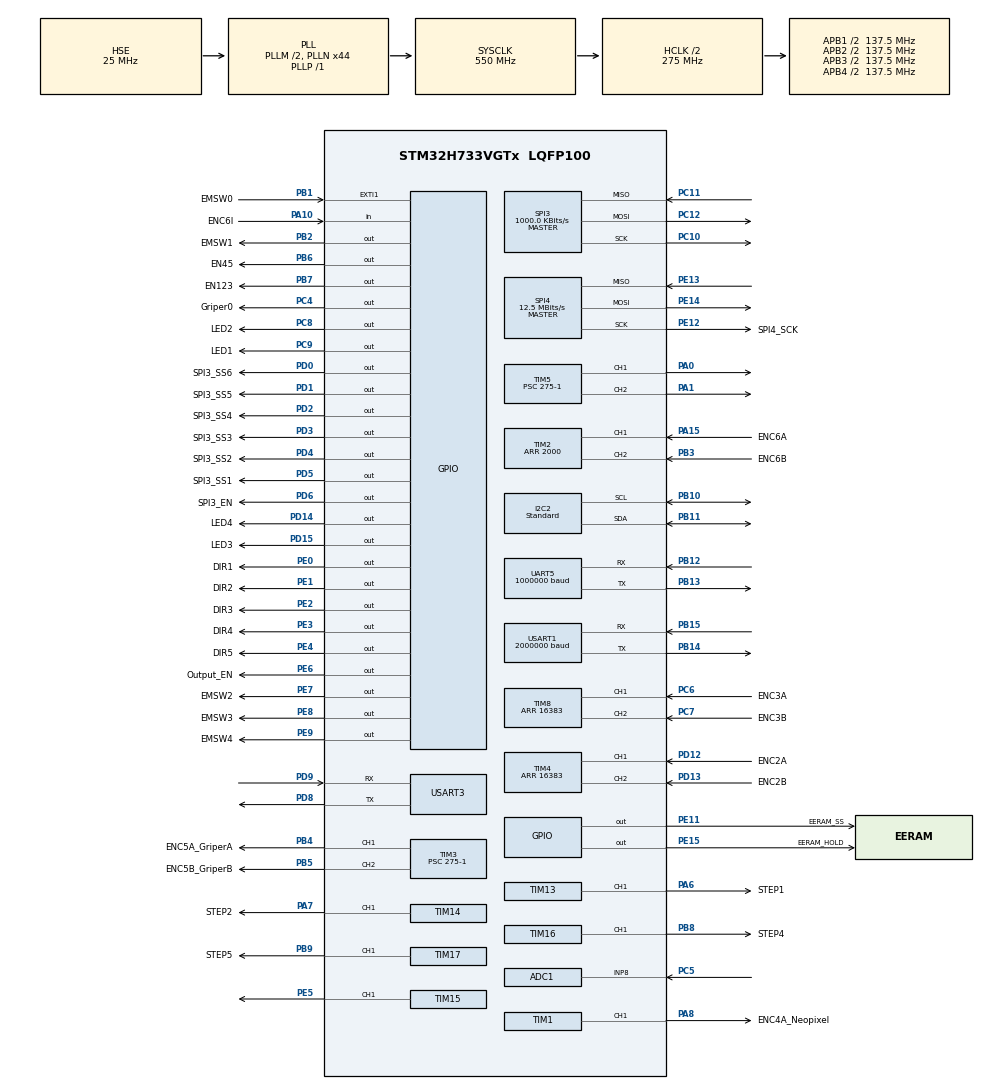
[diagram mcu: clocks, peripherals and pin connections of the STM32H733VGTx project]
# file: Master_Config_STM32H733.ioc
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ADC1.Channel-1\#ChannelRegularConversion=ADC_CHANNEL_8
ADC1.ClockPrescaler=ADC_CLOCK_ASYNC_DIV6
ADC1.Mode=ADC_DUALMODE_INJECSIMULT
ADC1.NbrOfConversionFlag=1
ADC1.OffsetNumber-1\#ChannelRegularConversion=ADC_OFFSET_NONE
ADC1.OffsetSignedSaturation-1\#ChannelRegularConversion=DISABLE
ADC1.Rank-1\#ChannelRegularConversion=1
ADC1.SamplingTime-1\#ChannelRegularConversion=ADC_SAMPLETIME_1CYCLE_5
ADC1.master=1
ADC2.Channel-0\#ChannelRegularConversion=ADC_CHANNEL_8
ADC2.ClockPrescaler=ADC_CLOCK_ASYNC_DIV6
ADC2.Mode=ADC_DUALMODE_INJECSIMULT
ADC2.NbrOfConversionFlag=1
ADC2.OffsetNumber-0\#ChannelRegularConversion=ADC_OFFSET_NONE
ADC2.OffsetSignedSaturation-0\#ChannelRegularConversion=DISABLE
ADC2.Rank-0\#ChannelRegularConversion=1
ADC2.SamplingTime-0\#ChannelRegularConversion=ADC_SAMPLETIME_1CYCLE_5
ADC3.Channel-0\#ChannelRegularConversion=ADC_CHANNEL_TEMPSENSOR
ADC3.ClockPrescaler=ADC_CLOCK_ASYNC_DIV6
ADC3.ContinuousConvMode=DISABLE
ADC3.DMAContinuousRequests=DISABLE
ADC3.Mode=ADC_DUALMODE_INJECSIMULT
ADC3.NbrOfConversion=1
ADC3.NbrOfConversionFlag=1
ADC3.OffsetNumber-0\#ChannelRegularConversion=ADC_OFFSET_NONE
ADC3.OffsetSaturation-0\#ChannelRegularConversion=DISABLE
ADC3.OffsetSign-0\#ChannelRegularConversion=ADC3_OFFSET_SIGN_NEGATIVE
ADC3.OffsetSignedSaturation-0\#ChannelRegularConversion=DISABLE
ADC3.Rank-0\#ChannelRegularConversion=1
ADC3.SamplingTime-0\#ChannelRegularConversion=ADC3_SAMPLETIME_247CYCLES_5
CRC.CRCLength=CRC_POLYLENGTH_8B
CRC.DefaultInitValueUse=DEFAULT_INIT_VALUE_DISABLE
CRC.DefaultPolynomialUse=DEFAULT_POLYNOMIAL_DISABLE
CRC.GeneratingPolynomial=X4+X3+X2+X0
CRC.InitValue=0xC4
CRC.InputDataFormat=CRC_INPUTDATA_FORMAT_BYTES
Dma.Request0=TIM1_CH1
Dma.Request1=UART5_RX
Dma.Request2=UART5_TX
Dma.TIM1_CH1.0.Direction=DMA_MEMORY_TO_PERIPH
Dma.TIM1_CH1.0.EventEnable=DISABLE
Dma.TIM1_CH1.0.FIFOMode=DMA_FIFOMODE_DISABLE
Dma.TIM1_CH1.0.Instance=DMA1_Stream0
Dma.TIM1_CH1.0.MemDataAlignment=DMA_MDATAALIGN_HALFWORD
Dma.TIM1_CH1.0.MemInc=DMA_MINC_ENABLE
Dma.TIM1_CH1.0.Mode=DMA_NORMAL
Dma.TIM1_CH1.0.PeriphDataAlignment=DMA_PDATAALIGN_HALFWORD
Dma.TIM1_CH1.0.PeriphInc=DMA_PINC_DISABLE
Dma.TIM1_CH1.0.Polarity=HAL_DMAMUX_REQ_GEN_RISING
Dma.TIM1_CH1.0.Priority=DMA_PRIORITY_LOW
Dma.TIM1_CH1.0.RequestNumber=1
Dma.TIM1_CH1.0.SignalID=NONE
Dma.TIM1_CH1.0.SyncEnable=DISABLE
Dma.TIM1_CH1.0.SyncPolarity=HAL_DMAMUX_SYNC_NO_EVENT
Dma.TIM1_CH1.0.SyncRequestNumber=1
Dma.TIM1_CH1.0.SyncSignalID=NONE
Dma.UART5_RX.1.Direction=DMA_PERIPH_TO_MEMORY
Dma.UART5_RX.1.EventEnable=DISABLE
Dma.UART5_RX.1.FIFOMode=DMA_FIFOMODE_DISABLE
Dma.UART5_RX.1.Instance=DMA1_Stream2
Dma.UART5_RX.1.MemDataAlignment=DMA_MDATAALIGN_BYTE
Dma.UART5_RX.1.MemInc=DMA_MINC_ENABLE
Dma.UART5_RX.1.Mode=DMA_NORMAL
Dma.UART5_RX.1.PeriphDataAlignment=DMA_PDATAALIGN_BYTE
Dma.UART5_RX.1.PeriphInc=DMA_PINC_DISABLE
Dma.UART5_RX.1.Polarity=HAL_DMAMUX_REQ_GEN_RISING
Dma.UART5_RX.1.Priority=DMA_PRIORITY_HIGH
Dma.UART5_RX.1.RequestNumber=1
Dma.UART5_RX.1.SignalID=NONE
Dma.UART5_RX.1.SyncEnable=DISABLE
Dma.UART5_RX.1.SyncPolarity=HAL_DMAMUX_SYNC_NO_EVENT
Dma.UART5_RX.1.SyncRequestNumber=1
Dma.UART5_RX.1.SyncSignalID=NONE
Dma.UART5_TX.2.Direction=DMA_MEMORY_TO_PERIPH
Dma.UART5_TX.2.EventEnable=DISABLE
Dma.UART5_TX.2.FIFOMode=DMA_FIFOMODE_DISABLE
Dma.UART5_TX.2.Instance=DMA1_Stream1
Dma.UART5_TX.2.MemDataAlignment=DMA_MDATAALIGN_BYTE
Dma.UART5_TX.2.MemInc=DMA_MINC_ENABLE
Dma.UART5_TX.2.Mode=DMA_NORMAL
Dma.UART5_TX.2.PeriphDataAlignment=DMA_PDATAALIGN_BYTE
Dma.UART5_TX.2.PeriphInc=DMA_PINC_DISABLE
Dma.UART5_TX.2.Polarity=HAL_DMAMUX_REQ_GEN_RISING
Dma.UART5_TX.2.Priority=DMA_PRIORITY_HIGH
Dma.UART5_TX.2.RequestNumber=1
Dma.UART5_TX.2.SignalID=NONE
Dma.UART5_TX.2.SyncEnable=DISABLE
Dma.UART5_TX.2.SyncPolarity=HAL_DMAMUX_SYNC_NO_EVENT
Dma.UART5_TX.2.SyncRequestNumber=1
Dma.UART5_TX.2.SyncSignalID=NONE
I2C2.I2C_Speed_Mode=I2C_Standard
I2C2.Timing=0x60404E72
Mcu.Family=STM32H7
Mcu.Name=STM32H733VGTx
Mcu.Package=LQFP100
NVIC.ADC3_IRQn=true\:0\:0\:false\:false\:true\:true\:true\:true
NVIC.DMA1_Stream0_IRQn=true\:0\:0\:false\:false\:true\:false\:true\:true
NVIC.DMA1_Stream1_IRQn=true\:0\:0\:false\:false\:true\:false\:true\:true
NVIC.DMA1_Stream2_IRQn=true\:0\:0\:false\:false\:true\:false\:true\:true
NVIC.I2C2_ER_IRQn=true\:0\:0\:false\:false\:true\:true\:true\:true
NVIC.PriorityGroup=NVIC_PRIORITYGROUP_4
NVIC.TIM23_IRQn=true\:0\:0\:false\:false\:true\:true\:true\:true
NVIC.UART5_IRQn=true\:0\:0\:false\:false\:true\:true\:true\:true
NVIC.USART3_IRQn=true\:0\:0\:false\:false\:true\:true\:true\:true
PA0.Signal=S_TIM5_CH1
PA1.Signal=S_TIM5_CH2
PA10.GPIO_Label=ENC6I
PA10.Signal=GPIO_Input
PA11.Signal=USB_OTG_HS_DM
PA12.Signal=USB_OTG_HS_DP
PA13(JTMS/SWDIO).Mode=Serial_Wire
PA13(JTMS/SWDIO).Signal=DEBUG_JTMS-SWDIO
PA14(JTCK/SWCLK).Mode=Serial_Wire
PA14(JTCK/SWCLK).Signal=DEBUG_JTCK-SWCLK
PA15(JTDI).GPIO_Label=ENC6A
PA15(JTDI).Signal=S_TIM2_CH1_ETR
PA6.GPIO_Label=STEP1
PA6.Signal=S_TIM13_CH1
PA7.GPIO_Label=STEP2
PA7.Signal=S_TIM14_CH1
PA8.GPIO_Label=ENC4A_Neopixel
PA8.Signal=S_TIM1_CH1
PA9.GPIO_Label=ENC4B
PA9.Signal=S_TIM1_CH2
PB1.GPIO_Label=EMSW0
PB1.Signal=GPXTI1
PB10.GPIO_Pu=GPIO_PULLUP
PB10.Mode=I2C
PB10.Signal=I2C2_SCL
PB11.GPIO_Pu=GPIO_PULLUP
PB11.Mode=I2C
PB11.Signal=I2C2_SDA
PB12.Mode=Asynchronous
PB12.Signal=UART5_RX
PB13.Mode=Asynchronous
PB13.Signal=UART5_TX
PB14.Mode=Asynchronous
PB14.Signal=USART1_TX
PB15.Mode=Asynchronous
PB15.Signal=USART1_RX
PB2.GPIO_Label=EMSW1
PB2.Signal=GPIO_Output
PB3(JTDO/TRACESWO).GPIO_Label=ENC6B
PB3(JTDO/TRACESWO).Signal=S_TIM2_CH2
PB4(NJTRST).GPIO_Label=ENC5A_GriperA
PB4(NJTRST).Signal=S_TIM3_CH1
PB5.GPIO_Label=ENC5B_GriperB
PB5.Signal=S_TIM3_CH2
PB6.GPIO_Label=EN45
PB6.Signal=GPIO_Output
PB7.GPIO_Label=EN123
PB7.Signal=GPIO_Output
PB8.GPIO_Label=STEP4
PB8.Signal=S_TIM16_CH1
PB9.GPIO_Label=STEP5
PB9.Signal=S_TIM17_CH1
PC10.Mode=Full_Duplex_Master
PC10.Signal=SPI3_SCK
PC11.Mode=Full_Duplex_Master
PC11.Signal=SPI3_MISO
PC12.Mode=Full_Duplex_Master
PC12.Signal=SPI3_MOSI
PC4.GPIO_Label=Griper0
PC4.Signal=GPIO_Output
PC5.Signal=ADCx_INP8
PC6.GPIO_Label=ENC3A
PC6.Signal=S_TIM8_CH1
PC7.GPIO_Label=ENC3B
PC7.Signal=S_TIM8_CH2
PC8.GPIO_Label=LED2
PC8.PinState=GPIO_PIN_RESET
PC8.Signal=GPIO_Output
PC9.GPIO_Label=LED1
PC9.PinState=GPIO_PIN_SET
PC9.Signal=GPIO_Output
PD0.GPIO_Label=SPI3_SS6
PD0.PinState=GPIO_PIN_SET
PD0.Signal=GPIO_Output
PD1.GPIO_Label=SPI3_SS5
PD1.PinState=GPIO_PIN_SET
PD1.Signal=GPIO_Output
PD12.GPIO_Label=ENC2A
PD12.Signal=S_TIM4_CH1
PD13.GPIO_Label=ENC2B
PD13.Signal=S_TIM4_CH2
PD14.GPIO_Label=LED4
PD14.Signal=GPIO_Output
PD15.GPIO_Label=LED3
PD15.Signal=GPIO_Output
PD2.GPIO_Label=SPI3_SS4
PD2.PinState=GPIO_PIN_SET
PD2.Signal=GPIO_Output
PD3.GPIO_Label=SPI3_SS3
PD3.PinState=GPIO_PIN_SET
PD3.Signal=GPIO_Output
PD4.GPIO_Label=SPI3_SS2
PD4.PinState=GPIO_PIN_SET
PD4.Signal=GPIO_Output
PD5.GPIO_Label=SPI3_SS1
PD5.PinState=GPIO_PIN_SET
PD5.Signal=GPIO_Output
PD6.GPIO_Label=SPI3_EN
PD6.Signal=GPIO_Output
PD8.Mode=Asynchronous
PD8.Signal=USART3_TX
PD9.Mode=Asynchronous
PD9.Signal=USART3_RX
PE0.GPIO_Label=DIR1
PE0.Signal=GPIO_Output
PE1.GPIO_Label=DIR2
PE1.Signal=GPIO_Output
PE11.GPIO_Label=EERAM_SS
PE11.Signal=GPIO_Output
PE12.GPIO_Label=SPI4_SCK
PE12.Mode=Full_Duplex_Master
PE12.Signal=SPI4_SCK
PE13.Mode=Full_Duplex_Master
PE13.Signal=SPI4_MISO
PE14.Mode=Full_Duplex_Master
PE14.Signal=SPI4_MOSI
PE15.GPIO_Label=EERAM_HOLD
PE15.Signal=GPIO_Output
PE2.GPIO_Label=DIR3
PE2.Signal=GPIO_Output
PE3.GPIO_Label=DIR4
PE3.Signal=GPIO_Output
PE4.GPIO_Label=DIR5
PE4.Signal=GPIO_Output
PE5.GPIO_ModeDefaultPP=GPIO_MODE_AF_PP
PE5.GPIO_PuPd=GPIO_NOPULL
PE5.GPIO_Speed=GPIO_SPEED_FREQ_LOW
PE5.Signal=S_TIM15_CH1
PE6.GPIO_Label=Output_EN
PE6.Signal=GPIO_Output
PE7.GPIO_Label=EMSW2
PE7.Signal=GPIO_Output
PE8.GPIO_Label=EMSW3
PE8.Signal=GPIO_Output
PE9.GPIO_Label=EMSW4
PE9.Signal=GPIO_Output
PH0-OSC_IN.Mode=HSE-External-Oscillator
PH0-OSC_IN.Signal=RCC_OSC_IN
PH1-OSC_OUT.Mode=HSE-External-Oscillator
PH1-OSC_OUT.Signal=RCC_OSC_OUT
ProjectManager.HeapSize=0x200
ProjectManager.StackSize=0x400
ProjectManager.TargetToolchain=STM32CubeIDE
RCC.ADCFreq_Value=100000000
RCC.APB1Freq_Value=137500000
RCC.APB2Freq_Value=137500000
RCC.APB3Freq_Value=137500000
RCC.APB4Freq_Value=137500000
RCC.CortexFreq_Value=550000000
RCC.D1PPRE=RCC_APB3_DIV2
RCC.D2PPRE1=RCC_APB1_DIV2
RCC.D2PPRE2=RCC_APB2_DIV2
RCC.D3PPRE=RCC_APB4_DIV2
RCC.DIVM1=2
RCC.DIVM2=2
RCC.DIVM3=25
RCC.DIVN1=44
RCC.DIVN2=16
RCC.DIVN3=256
RCC.DIVP1=1
RCC.HCLKFreq_Value=275000000
RCC.HPRE=RCC_HCLK_DIV2
RCC.LockedElements=D1CPREOutput
RCC.PLL1_VCI_Range-AdvancedSettings=RCC_PLL1VCIRANGE_0
RCC.PLL1_VCO_SEL-AdvancedSettings=RCC_PLL1VCOWIDE
RCC.PLL2_VCI_Range-AdvancedSettings=RCC_PLL2VCIRANGE_0
RCC.PLL2_VCO_SEL-AdvancedSettings=RCC_PLL2VCOMEDIUM
RCC.PLL3_VCI_Range-AdvancedSettings=RCC_PLL3VCIRANGE_3
RCC.PLL3_VCO_SEL-AdvancedSettings=RCC_PLL3VCOWIDE
RCC.PLLSourceVirtual=RCC_PLLSOURCE_HSE
RCC.SPI123CLockSelection=RCC_SPI123CLKSOURCE_PLL3
RCC.SYSCLKFreq_VALUE=550000000
RCC.SYSCLKSource=RCC_SYSCLKSOURCE_PLLCLK
RCC.Spi45ClockSelection=RCC_SPI45CLKSOURCE_PLL2
RCC.USART16CLockSelection=RCC_USART16910CLKSOURCE_PLL2
RCC.USART234578CLockSelection=RCC_USART234578CLKSOURCE_PLL2
RCC.USBCLockSelection=RCC_USBCLKSOURCE_HSI48
RCC.USBFreq_Value=48000000
SH.ADCx_INP8.0=ADC1_INP8,IN8-Single-Ended
SH.ADCx_INP8.1=ADC2_INP8,IN8-Single-Ended
SH.S_TIM13_CH1.0=TIM13_CH1,PWM Generation1 CH1
SH.S_TIM14_CH1.0=TIM14_CH1,PWM Generation1 CH1
SH.S_TIM15_CH1.0=TIM15_CH1,PWM Generation1 CH1
SH.S_TIM16_CH1.0=TIM16_CH1,PWM Generation1 CH1
SH.S_TIM17_CH1.0=TIM17_CH1,PWM Generation1 CH1
SH.S_TIM1_CH1.0=TIM1_CH1,PWM Generation1 CH1
SH.S_TIM1_CH2.0=TIM1_CH2
SH.S_TIM2_CH1_ETR.0=TIM2_CH1,Encoder_Interface
SH.S_TIM2_CH2.0=TIM2_CH2,Encoder_Interface
SH.S_TIM3_CH1.0=TIM3_CH1,PWM Generation1 CH1
SH.S_TIM3_CH2.0=TIM3_CH2,PWM Generation2 CH2
SH.S_TIM4_CH1.0=TIM4_CH1,Encoder_Interface
SH.S_TIM4_CH2.0=TIM4_CH2,Encoder_Interface
SH.S_TIM5_CH1.0=TIM5_CH1,PWM Generation1 CH1
SH.S_TIM5_CH2.0=TIM5_CH2,PWM Generation2 CH2
SH.S_TIM8_CH1.0=TIM8_CH1,Encoder_Interface
SH.S_TIM8_CH2.0=TIM8_CH2,Encoder_Interface
SPI3.BaudRatePrescaler=SPI_BAUDRATEPRESCALER_128
SPI3.CLKPhase=SPI_PHASE_2EDGE
SPI3.CRCCalculation=SPI_CRCCALCULATION_DISABLE
SPI3.CRCPolynomial=0x1D
SPI3.CalculateBaudRate=1000.0 KBits/s
SPI3.DataSize=SPI_DATASIZE_8BIT
SPI3.Direction=SPI_DIRECTION_2LINES
SPI3.FirstBit=SPI_FIRSTBIT_MSB
SPI3.Mode=SPI_MODE_MASTER
SPI3.VirtualType=VM_MASTER
SPI4.BaudRatePrescaler=SPI_BAUDRATEPRESCALER_8
SPI4.CalculateBaudRate=12.5 MBits/s
SPI4.DataSize=SPI_DATASIZE_16BIT
SPI4.Direction=SPI_DIRECTION_2LINES
SPI4.Mode=SPI_MODE_MASTER
SPI4.VirtualType=VM_MASTER
TIM1.AutoReloadPreload=TIM_AUTORELOAD_PRELOAD_DISABLE
TIM1.Channel-PWM\ Generation1\ CH1=TIM_CHANNEL_1
TIM1.OCFastMode_PWM-PWM\ Generation1\ CH1=TIM_OCFAST_DISABLE
TIM1.Period=343
TIM1.Pulse-PWM\ Generation1\ CH1=0
TIM13.AutoReloadPreload=TIM_AUTORELOAD_PRELOAD_ENABLE
TIM13.Channel=TIM_CHANNEL_1
TIM13.Period=1000-1
TIM13.Prescaler=550-1
TIM13.Pulse=500-1
TIM14.AutoReloadPreload=TIM_AUTORELOAD_PRELOAD_ENABLE
TIM14.Channel=TIM_CHANNEL_1
TIM14.Period=1000-1
TIM14.Prescaler=550-1
TIM14.Pulse=500-1
TIM15.AutoReloadPreload=TIM_AUTORELOAD_PRELOAD_ENABLE
TIM15.Channel-PWM\ Generation1\ CH1=TIM_CHANNEL_1
TIM15.Period=1000-1
TIM15.Prescaler=550-1
TIM15.Pulse-PWM\ Generation1\ CH1=500-1
TIM16.AutoReloadPreload=TIM_AUTORELOAD_PRELOAD_ENABLE
TIM16.Channel=TIM_CHANNEL_1
TIM16.Period=1000-1
TIM16.Prescaler=550-1
TIM16.Pulse=500-1
TIM17.AutoReloadPreload=TIM_AUTORELOAD_PRELOAD_ENABLE
TIM17.Channel=TIM_CHANNEL_1
TIM17.Period=1000-1
TIM17.Prescaler=550-1
TIM17.Pulse=500-1
TIM2.AutoReloadPreload=TIM_AUTORELOAD_PRELOAD_ENABLE
TIM2.EncoderMode=TIM_ENCODERMODE_TI12
TIM2.IC1Filter=10
TIM2.IC2Filter=10
TIM2.Period=2000
TIM23.AutoReloadPreload=TIM_AUTORELOAD_PRELOAD_ENABLE
TIM23.Period=1000-1
TIM23.Prescaler=275-1
TIM24.Prescaler=275-1
TIM3.Channel-PWM\ Generation1\ CH1=TIM_CHANNEL_1
TIM3.Channel-PWM\ Generation2\ CH2=TIM_CHANNEL_2
TIM3.Period=20000-1
TIM3.Prescaler=275-1
TIM3.Pulse-PWM\ Generation1\ CH1=1999
TIM4.AutoReloadPreload=TIM_AUTORELOAD_PRELOAD_ENABLE
TIM4.EncoderMode=TIM_ENCODERMODE_TI12
TIM4.IC1Filter=0
TIM4.IC2Filter=0
TIM4.Period=16383
TIM5.Channel-PWM\ Generation1\ CH1=TIM_CHANNEL_1
TIM5.Channel-PWM\ Generation2\ CH2=TIM_CHANNEL_2
TIM5.Period=20000-1
TIM5.Prescaler=275-1
TIM5.Pulse-PWM\ Generation1\ CH1=1500-1
TIM5.Pulse-PWM\ Generation2\ CH2=1500-1
TIM6.Prescaler=275-1
TIM8.AutoReloadPreload=TIM_AUTORELOAD_PRELOAD_ENABLE
TIM8.EncoderMode=TIM_ENCODERMODE_TI12
TIM8.IC1Filter=0
TIM8.IC2Filter=0
TIM8.Period=16383
UART5.BaudRate=1000000
UART5.SwapParam=UART_ADVFEATURE_SWAP_ENABLE
USART1.BaudRate=2000000
USART1.SwapParam=ADVFEATURE_SWAP_DISABLE
USART1.VirtualMode-Asynchronous=VM_ASYNC
USART3.VirtualMode-Asynchronous=VM_ASYNC
VP_ADC3_TempSens_Input.Mode=IN-TempSens
VP_CRC_VS_CRC.Mode=CRC_Activate
VP_TIM13_VS_ClockSourceINT.Mode=Enable_Timer
VP_TIM14_VS_ClockSourceINT.Mode=Enable_Timer
VP_TIM16_VS_ClockSourceINT.Mode=Enable_Timer
VP_TIM17_VS_ClockSourceINT.Mode=Enable_Timer
VP_TIM23_VS_ClockSourceINT.Mode=Internal
VP_TIM24_VS_ClockSourceINT.Mode=Internal
VP_TIM3_VS_ClockSourceINT.Mode=Internal
VP_TIM5_VS_ClockSourceINT.Mode=Internal
VP_TIM6_VS_ClockSourceINT.Mode=Enable_Timer
board=custom

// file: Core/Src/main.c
/* USER CODE BEGIN Header */
/**
  ******************************************************************************
  * @file           : main.c
  * @brief          : Main program body
  ******************************************************************************
  * @attention
  *
  * <h2><center>&copy; Copyright (c) 2021 STMicroelectronics.
  * All rights reserved.</center></h2>
  *
  * This software component is licensed by ST under BSD 3-Clause license,
  * the "License"; You may not use this file except in compliance with the
  * License. You may obtain a copy of the License at:
  *                        opensource.org/licenses/BSD-3-Clause
  *
  ******************************************************************************
  */
/* USER CODE END Header */
#include "main.h"
#include "adc.h"
#include "crc.h"
#include "dma.h"
#include "i2c.h"
#include "spi.h"
#include "tim.h"
#include "usart.h"
#include "gpio.h"

/* USER CODE BEGIN Includes */
#include <math.h>
#include "kinematics.h"
#include "control.h"
#include "AS5047U.h"
#include "Neopixel.h"
//#include "TPM75.h"
#include "Tmp75.h"

//#include "arm_math.h"
/* USER CODE END Includes */

/* USER CODE BEGIN PD */

/*   Module 8-9 Variable Section   */

double Z_TopOffset = 180;
double Z_2GripOffset = 50;

double Task2ShowinMonitor[3];
uint8_t Servo_Griper[2];

double Temperature;
double Temp_Calibration;

typedef enum
{
	Chess_idle,
	Move_2_Start_Top_Point,
	Move_2_Start_Grip_Point,
	Move_2_Start_Point_and_Griping,
	Back_2_Start_Top_Point,
	Move_2_End_Top_Point,
	Move_2_End_Ungrip_Point,
	Move_2_End_Remove_Point_and_Ungriping,
	Move_2_End_Point_and_Ungriping,
	Back_2_End_Top_Point,
	ChessMove_Finish,
} ChessMoveState;

/*  Library */
AS5047U Encoder[4];
KalmanParameter Kalman[5];
ControlParameter Control[4];
SteperParameter Stepper[4];
ServoParameter Servo[2];
NeopixelParameter Neopixel;
TrajParameter Traj[7]; /* index 0-3 is joint Traj and 4 is Z axis Traj */

double Chess_Board_Base_Encoder = 0;
uint16_t BaseENC[2] = {0,0};

double TPM75_Temp;

double SetPoint_Position[5];
double SetPoint_Velocity[5];
double t;

/*   Flag   */
uint8_t Contorl_Flag;
uint8_t Traj_Flag;
uint8_t Protocol_Flag;
uint8_t Chessmove_State;
uint8_t Trajz_Flag;

/*	Software Timer	*/
uint32_t Software_Timer_1s;
uint32_t Software_Timer_100ms;

uint8_t UART5_rxBuffer[14] __attribute__((section("RAM_D2"))) = {0};
uint8_t UART5_txBuffer[45] __attribute__((section("RAM_D2"))) = {0};
uint8_t Comunication_Heartbeat = 0;
uint8_t ChessIndex[2];
float ChessHight;
uint8_t Chess_Move_Start_Flag = 0;
ChessMoveState ChessMoveStates = Chess_idle;
uint8_t PositionX_Remove = 0;

double tune_PID[2] = {0,0};
double T_tune_PID = 2;

/*	Jog Variable	*/
double JointTrajSet[4];
double TaskTrajSet[3];

uint8_t traj_finish = 0;
double traj_t_set[4];
double t,T_Traj;

double pos,vel,dt_test,f_out,position_test;
uint16_t reg_out;
double v2freqGain;

uint8_t Buffer_TPM75[2];

// Debug Variable //

uint8_t Test_traj = 0;
uint8_t Test_traj2 = 0;
double Test_traj_Val[4];
double Time_Live_Ex1 = 2;
double TaskSpace_Live_Ex1[3] ={0,0,0};

/*	ChessMove	*/
double EndEffectorTarget[3];

/* USER CODE END PD */

void SystemClock_Config(void);
void PeriphCommonClock_Config(void);
/* USER CODE BEGIN PFP */

//uint8_t crc_uart(void);
//void Uart1_Sent(void);

uint8_t CRC8(uint8_t *Data,uint8_t BufferLength);
void SentData(uint8_t range);
void Narwhal_Protocol();
void Control_Function();
void JMoveTaskSpace(double Task2Go[3], double Time2Move);
void LMoveTaskSpace(double Task2Go[3], double Time2Move);
void ChessNotMovePathWay(uint8_t Index2Move, double Z_Offset, uint8_t IsJMove, uint8_t IsRemove);
void ChessMoveStateMachine();
double All_Joint_Speed_Avg();

/* USER CODE END PFP */

int main(void)
{

  /* MCU Configuration--------------------------------------------------------*/

  /* Reset of all peripherals, Initializes the Flash interface and the Systick. */
  HAL_Init();

  /* Configure the system clock */
  SystemClock_Config();

/* Configure the peripherals common clocks */
  PeriphCommonClock_Config();

  /* USER CODE BEGIN SysInit */
  MX_DMA_Init();
  /* USER CODE END SysInit */

  /* Initialize all configured peripherals */
  MX_GPIO_Init();
  MX_DMA_Init();
  MX_ADC3_Init();
  MX_TIM1_Init();
  MX_TIM3_Init();
  MX_TIM4_Init();
  MX_TIM5_Init();
  MX_TIM8_Init();
  MX_TIM13_Init();
  MX_TIM14_Init();
  MX_TIM15_Init();
  MX_TIM16_Init();
  MX_TIM17_Init();
  MX_USART1_UART_Init();
  MX_USART3_UART_Init();
  MX_SPI3_Init();
  MX_SPI4_Init();
  MX_I2C2_Init();
  MX_CRC_Init();
  MX_TIM24_Init();
  MX_TIM23_Init();
  MX_TIM6_Init();
  MX_UART5_Init();
  MX_ADC1_Init();
  MX_ADC2_Init();
  MX_TIM2_Init();
  /* USER CODE BEGIN 2 */
	HAL_GPIO_WritePin(GPIOD, GPIO_PIN_6, 1);	// LVDS EN
	HAL_GPIO_WritePin(GPIOE, GPIO_PIN_6, 1);	// Level Shifter EN

	Temp_Calibration =
			(110.0 - 30.0)
					/ (*(unsigned short*) (0x1FF1E840)
							- *(unsigned short*) (0x1FF1E820));
	HAL_ADCEx_Calibration_Start(&hadc3, ADC_CALIB_OFFSET, ADC_SINGLE_ENDED);

	/*			   Encoder				*/
	AS5047U_init(&Encoder[0], &hspi3, GPIOD, &hcrc, GPIO_PIN_0, 6500);
	AS5047U_init(&Encoder[1], &hspi3, GPIOD, &hcrc, GPIO_PIN_1, 10100);
	AS5047U_init(&Encoder[2], &hspi3, GPIOD, &hcrc, GPIO_PIN_2, 3165);
	AS5047U_init(&Encoder[3], &hspi3, GPIOD, &hcrc, GPIO_PIN_3, 6970);

	HAL_Delay(50);

	/* Encoder ABI Res Setting */
	AS5047U_Write(&Encoder[0], 0x001A, 0b01000000);
	AS5047U_Write(&Encoder[1], 0x001A, 0b01000000);
	AS5047U_Write(&Encoder[2], 0x001A, 0b01000000);
	AS5047U_Write(&Encoder[3], 0x001A, 0b01000000);

	/* Chess Board Encoder */
	HAL_TIM_Encoder_Start(&htim2, TIM_CHANNEL_ALL);

	/*			Kalman Filter			*/
	Kalman_init(&Kalman[0], 5000, 0.001);
	Kalman_init(&Kalman[1], 5000, 0.001);
	Kalman_init(&Kalman[2], 5000, 0.001);
	Kalman_init(&Kalman[3], 5000, 0.001);
	Kalman_init(&Kalman[5], 5000, 0.001);

	/*			CascadeControl			*/
	CascadeControl_init(&Control[0], 0.75, 0, 0, 15, 0.5, 10, 400);
	CascadeControl_init(&Control[1], 0.5, 0, 0.5, 10, 0, 30, 410);
	CascadeControl_init(&Control[2], 0.5, 0, 0.3, 25, 0, 30, 800);
	CascadeControl_init(&Control[3], 0.75, 0, 0.3, 9, 0, 3, 420);

	/*  Power Supply Temperature Sensor */
	Tmp75_Init(&hi2c2);

	SetPoint_Position[0] = EncPulse2Rad_Read(&Encoder[0], 1);
	SetPoint_Position[1] = EncPulse2Rad_Read(&Encoder[1], 0);
	SetPoint_Position[2] = EncPulse2Rad_Read(&Encoder[2], 0);
	SetPoint_Position[3] = EncPulse2Rad_Read(&Encoder[3], 0);
	SetPoint_Velocity[0] = 0;
	SetPoint_Velocity[1] = 0;
	SetPoint_Velocity[2] = 0;
	SetPoint_Velocity[3] = 0;

	/*			Stepper Driver			*/
	Step_Driver_init(&Stepper[0], &htim13, TIM_CHANNEL_1, GPIOE, GPIO_PIN_0, 500000, 1);
	Step_Driver_init(&Stepper[1], &htim14, TIM_CHANNEL_1, GPIOE, GPIO_PIN_1, 500000, 0);
	Step_Driver_init(&Stepper[2], &htim15, TIM_CHANNEL_1, GPIOE, GPIO_PIN_2, 500000, 1);
	Step_Driver_init(&Stepper[3], &htim16, TIM_CHANNEL_1, GPIOE, GPIO_PIN_3, 500000, 1);

	/*         	  Servo             */
	Servo_init(&Servo[0], &htim3, TIM_CHANNEL_1);
	Servo_init(&Servo[1], &htim3, TIM_CHANNEL_2);
	Servo_Drive(&Servo[0], 90);
	Servo_Drive(&Servo[1], 90);

	/*			Trajectory			*/
	Test_traj_Val[0] = 0;
	Test_traj_Val[1] = 0;
	Test_traj_Val[2] = 0;
	Test_traj_Val[3] = 0;
	Traj_Flag = 0;
	t = 0;

	/*   RGB LED   */
	Neopixel_Init(&Neopixel, &htim1, TIM_CHANNEL_1);
	Neopixel_Set(&Neopixel, 0, 255, 0, 0);
	Neopixel_Set(&Neopixel, 1, 0, 255, 0);
	Neopixel_Set(&Neopixel, 2, 0, 0, 255);
	Neopixel_Sent(&Neopixel);

	HAL_TIM_Base_Start_IT(&htim23);   // Start Control Timer
	HAL_UART_Receive_IT(&huart5, UART5_rxBuffer, 14);
	ChessMoveStates = Chess_idle;

  /* USER CODE END 2 */

  /* Infinite loop */
  while (1)
  {

    /* USER CODE BEGIN 3 */
//		Servo_Drive(&Servo[0], Servo_Griper[0]);
//		Servo_Drive(&Servo[1], Servo_Griper[1]);

		if (Test_traj) {
			Test_traj = 0;
			JMoveTaskSpace(TaskSpace_Live_Ex1, Time_Live_Ex1);
		}
		if (Test_traj2) {
			Test_traj2 = 0;
			double TaskSpace_Live_Ex1_ChangeZ[3];
			TaskSpace_Live_Ex1_ChangeZ[0] = TaskSpace_Live_Ex1[0];
			TaskSpace_Live_Ex1_ChangeZ[1] = TaskSpace_Live_Ex1[1];
			TaskSpace_Live_Ex1_ChangeZ[2] = TaskSpace_Live_Ex1[2] - 100;
			JMoveTaskSpace(TaskSpace_Live_Ex1_ChangeZ, Time_Live_Ex1);
		}

	   uint8_t tune_joint = 3;
	   if (tune_PID[0] != tune_PID[1]){
		   	tune_PID[1] = tune_PID[0];
			t = 0;
			double Joint[4] = {0,0,0,0};
			for (int i = 0; i < 4; i++) {
				Joint[i] = Control[i].PositionFeedback;
			}
			Joint[tune_joint] = tune_PID[0];
			for (int i = 0; i < 4; i++) {
				Traj_Coeff_Cal(&Traj[i], T_tune_PID, Joint[i], Control[i].PositionFeedback,0, Control[i].VelocityFeedback);
			}
			Traj_Flag = 0x0F;
	   }

		if (Contorl_Flag) {
			Control_Function();
			Contorl_Flag = 0;    // Clear Control Flag
		}

		if (Protocol_Flag) {
			Narwhal_Protocol();
			Protocol_Flag = 0;
		}

		if (HAL_GetTick() - Software_Timer_100ms >= 10) {
			Software_Timer_100ms = HAL_GetTick();
			HAL_ADC_Start_IT(&hadc3); 				//	read temperature sensor
			One_ShotTemp(&hi2c2);
			Read_TempCelsius(&TPM75_Temp,&hi2c2);
			ChessMoveStateMachine();
		}

		if (HAL_GetTick() - Software_Timer_1s >= 1000) {		// 	Update System Status
			Software_Timer_1s = HAL_GetTick();
			HAL_GPIO_TogglePin(LED2_GPIO_Port, LED2_Pin);
			if (Comunication_Heartbeat == 0){
				HAL_GPIO_WritePin(LED3_GPIO_Port, LED3_Pin, 1);
			}
			else{
				Comunication_Heartbeat -= 1;
				HAL_GPIO_WritePin(LED3_GPIO_Port, LED3_Pin, 0);
			}
		}
	}
  /* USER CODE END 3 */
}

void SystemClock_Config(void)
{
  RCC_OscInitTypeDef RCC_OscInitStruct = {0};
  RCC_ClkInitTypeDef RCC_ClkInitStruct = {0};

  /** Supply configuration update enable
  */
  HAL_PWREx_ConfigSupply(PWR_LDO_SUPPLY);

  /** Configure the main internal regulator output voltage
  */
  __HAL_PWR_VOLTAGESCALING_CONFIG(PWR_REGULATOR_VOLTAGE_SCALE0);

  while(!__HAL_PWR_GET_FLAG(PWR_FLAG_VOSRDY)) {}

  /** Macro to configure the PLL clock source
  */
  __HAL_RCC_PLL_PLLSOURCE_CONFIG(RCC_PLLSOURCE_HSE);

  /** Initializes the RCC Oscillators according to the specified parameters
  * in the RCC_OscInitTypeDef structure.
  */
  RCC_OscInitStruct.OscillatorType = RCC_OSCILLATORTYPE_HSE;
  RCC_OscInitStruct.HSEState = RCC_HSE_ON;
  RCC_OscInitStruct.PLL.PLLState = RCC_PLL_ON;
  RCC_OscInitStruct.PLL.PLLSource = RCC_PLLSOURCE_HSE;
  RCC_OscInitStruct.PLL.PLLM = 2;
  RCC_OscInitStruct.PLL.PLLN = 44;
  RCC_OscInitStruct.PLL.PLLP = 1;
  RCC_OscInitStruct.PLL.PLLQ = 2;
  RCC_OscInitStruct.PLL.PLLR = 2;
  RCC_OscInitStruct.PLL.PLLRGE = RCC_PLL1VCIRANGE_3;
  RCC_OscInitStruct.PLL.PLLVCOSEL = RCC_PLL1VCOWIDE;
  RCC_OscInitStruct.PLL.PLLFRACN = 0;
  if (HAL_RCC_OscConfig(&RCC_OscInitStruct) != HAL_OK)
  {
    Error_Handler();
  }

  /** Initializes the CPU, AHB and APB buses clocks
  */
  RCC_ClkInitStruct.ClockType = RCC_CLOCKTYPE_HCLK|RCC_CLOCKTYPE_SYSCLK
                              |RCC_CLOCKTYPE_PCLK1|RCC_CLOCKTYPE_PCLK2
                              |RCC_CLOCKTYPE_D3PCLK1|RCC_CLOCKTYPE_D1PCLK1;
  RCC_ClkInitStruct.SYSCLKSource = RCC_SYSCLKSOURCE_PLLCLK;
  RCC_ClkInitStruct.SYSCLKDivider = RCC_SYSCLK_DIV1;
  RCC_ClkInitStruct.AHBCLKDivider = RCC_HCLK_DIV2;
  RCC_ClkInitStruct.APB3CLKDivider = RCC_APB3_DIV2;
  RCC_ClkInitStruct.APB1CLKDivider = RCC_APB1_DIV2;
  RCC_ClkInitStruct.APB2CLKDivider = RCC_APB2_DIV2;
  RCC_ClkInitStruct.APB4CLKDivider = RCC_APB4_DIV2;

  if (HAL_RCC_ClockConfig(&RCC_ClkInitStruct, FLASH_LATENCY_3) != HAL_OK)
  {
    Error_Handler();
  }
}

void PeriphCommonClock_Config(void)
{
  RCC_PeriphCLKInitTypeDef PeriphClkInitStruct = {0};

  /** Initializes the peripherals clock
  */
  PeriphClkInitStruct.PeriphClockSelection = RCC_PERIPHCLK_ADC|RCC_PERIPHCLK_SPI4
                              |RCC_PERIPHCLK_UART5|RCC_PERIPHCLK_USART1
                              |RCC_PERIPHCLK_USART3;
  PeriphClkInitStruct.PLL2.PLL2M = 2;
  PeriphClkInitStruct.PLL2.PLL2N = 16;
  PeriphClkInitStruct.PLL2.PLL2P = 2;
  PeriphClkInitStruct.PLL2.PLL2Q = 2;
  PeriphClkInitStruct.PLL2.PLL2R = 2;
  PeriphClkInitStruct.PLL2.PLL2RGE = RCC_PLL2VCIRANGE_3;
  PeriphClkInitStruct.PLL2.PLL2VCOSEL = RCC_PLL2VCOWIDE;
  PeriphClkInitStruct.PLL2.PLL2FRACN = 0;
  PeriphClkInitStruct.Spi45ClockSelection = RCC_SPI45CLKSOURCE_PLL2;
  PeriphClkInitStruct.Usart234578ClockSelection = RCC_USART234578CLKSOURCE_PLL2;
  PeriphClkInitStruct.Usart16ClockSelection = RCC_USART16910CLKSOURCE_PLL2;
  PeriphClkInitStruct.AdcClockSelection = RCC_ADCCLKSOURCE_PLL2;
  if (HAL_RCCEx_PeriphCLKConfig(&PeriphClkInitStruct) != HAL_OK)
  {
    Error_Handler();
  }
}

/* USER CODE BEGIN 4 */

void HAL_UART_RxCpltCallback(UART_HandleTypeDef *huart) {
	if (huart == &huart5) {
		Protocol_Flag = 1;
	}
}

void HAL_TIM_PWM_PulseFinishedCallback(TIM_HandleTypeDef *htim) {
	HAL_TIM_PWM_Stop_DMA(&htim1, TIM_CHANNEL_1);
}

void HAL_ADC_ConvCpltCallback(ADC_HandleTypeDef *hadc) {
	if (hadc == &hadc3) {
		uint32_t ADC_Output = HAL_ADC_GetValue(&hadc3);
		Temperature = ((Temperature * 19)
				+ (Temp_Calibration
						* (double) ((double) ADC_Output
								- *(unsigned short*) (0x1FF1E820)) + 30.0f))
				/ 20;
	}
}

void HAL_TIM_PeriodElapsedCallback(TIM_HandleTypeDef *htim) {
	if (htim == &htim23) {
		Contorl_Flag = 1;
	}
}

inline uint8_t CRC8(uint8_t *Data,uint8_t BufferLength){
	return HAL_CRC_Calculate(&hcrc, (uint32_t*) Data, BufferLength) ^ 0xFF;
}
inline void SentData(uint8_t range){
	UART5_txBuffer[range] = CRC8(UART5_txBuffer, range);
	HAL_UART_Transmit_IT(&huart5, UART5_txBuffer, range+1);
}

inline void Narwhal_Protocol() {
	if (UART5_rxBuffer[0] == 0xFF) {
		uint8_t CRC_Cal = CRC8(UART5_rxBuffer, 13);
		if (CRC_Cal == UART5_rxBuffer[13]) {
			UART5_txBuffer[0] = 0xFF;
			Comunication_Heartbeat = 2;
			double Safe_Zone[4] = { 0, 0.5, -0.5, 0 };
			double q_Feed[4];
			double dq[4];
			double d_Task[3];
			double d_Task_Set[3];
			double q_in[5] = {0,0,0,0,0};
			double q_in_Set[5] = {0,0,0,0,0};
			double task[3] = { 0, 0, 0 };
			int Chess_Board_Base_Encoder2Sent;

			uint16_t Temperature_Protocol = Temperature * 1000;
			uint16_t Temperature_Protocol2 = TPM75_Temp * 1000;

			/* 		Data to MCU Start	*/
			switch (UART5_rxBuffer[1]) {
			case 0xF0:
				/* Ping */
				UART5_txBuffer[2] = 0x00;
				UART5_txBuffer[1] = 0xFF;
				SentData(3);
				break;
			case 0xF1:
				/* Working Mode Set */
				UART5_txBuffer[2] = 0x01;
				UART5_txBuffer[1] = 0xFF;
				SentData(3);
				break;
			case 0xF5:
				/* GoHome */
				if (Traj_Flag == 0) {;
					t = 0;
					for (int i = 0; i < 4; i++) {
						Traj_Coeff_Cal(&Traj[i], 2, 0,
								Control[i].PositionFeedback, 0,
								Control[i].VelocityFeedback);
					}
					Traj_Flag = 0x0F;
					Chessmove_State = 0;
					UART5_txBuffer[2] = 0x00;
				} else {
					UART5_txBuffer[2] = 0x01;
				}
				UART5_txBuffer[1] = 0xFF;
				SentData(3);
				break;
			case 0xF6:
				/* GoSafe */
				if (Traj_Flag == 0) {
					;
					t = 0;
					for (int i = 0; i < 4; i++) {
						Traj_Coeff_Cal(&Traj[i], 2.5, Safe_Zone[i],
								Control[i].PositionFeedback, 0,
								Control[i].VelocityFeedback);
					}
					Traj_Flag = 0x0F;
					Chessmove_State = 0;
					UART5_txBuffer[2] = 0x00;
				} else {
					UART5_txBuffer[2] = 0x01;
				}
				UART5_txBuffer[1] = 0xFF;
				SentData(3);
				break;
			case 0xF7:
				/* Set0 BaseEnc */
				Chess_Board_Base_Encoder = 0;
				UART5_txBuffer[1] = 0xFF;
				SentData(3);
				break;
			case 0xFA:
				/* Joint Jog */
				t = 0;
				for (int i = 0; i < 4; i++) {
					double JointJog = (int16_t) (((UART5_rxBuffer[2 + (2 * i)])
							<< 8) | (UART5_rxBuffer[3 + (2 * i)])) / 1000.0;
					Traj_Coeff_Cal(&Traj[i], 0.5,
							JointJog + Control[i].PositionFeedback,
							Control[i].PositionFeedback, 0,
							Control[i].VelocityFeedback);
				}
				Traj_Flag = 0x0F;
				Chessmove_State = 0;
				UART5_txBuffer[2] = 0x00;
				UART5_txBuffer[1] = 0xFF;
				SentData(3);
				break;
			case 0xFB:
				/* Cartesian Jog */
				q_Feed[0] = Control[0].PositionFeedback;
				q_Feed[1] = Control[1].PositionFeedback;
				q_Feed[2] = Control[2].PositionFeedback;
				q_Feed[3] = Control[3].PositionFeedback;
				for (int i = 0; i < 3; i++) {
					d_Task[i] = (int16_t) (((UART5_rxBuffer[2 + (2 * i)]) << 8)
							| (UART5_rxBuffer[3 + (2 * i)])) / 50.0;
				}
				IVK(q_Feed, d_Task, dq);
				t = 0;
				for (int i = 0; i < 4; i++) {
					double Setpoint = Control[i].PositionFeedback + dq[i];
					Traj_Coeff_Cal(&Traj[i], 0.5, Setpoint,
							Control[i].PositionFeedback, 0,
							Control[i].VelocityFeedback);
				}
				Traj_Flag = 0x0F;
				Chessmove_State = 0;
				UART5_txBuffer[2] = 0x00;
				UART5_txBuffer[1] = 0xFF;
				SentData(3);
				break;
			case 0xFD:
				/* Joint Set */
				t = 0;
				double Joint[4];
				double T = 1;
				double Distance = -1;
				for (int i = 0; i < 4; i++) {
					Joint[i] = (int16_t) (((UART5_rxBuffer[2 + (2 * i)]) << 8)
							| (UART5_rxBuffer[3 + (2 * i)])) / 1000.0;
					if (Joint[i] > Distance){
						Distance = Joint[i];
					}
				}
				T += (Distance * 0.8);
				for (int i = 0; i < 4; i++) {
					Traj_Coeff_Cal(&Traj[i], T, Joint[i],
							Control[i].PositionFeedback, 0,
							Control[i].VelocityFeedback);
				}
				Traj_Flag = 0x0F;
				Chessmove_State = 0;
				UART5_txBuffer[2] = 0x03;
				UART5_txBuffer[1] = 0xFF;
				SentData(3);
				break;
			case 0xFE:
				/* Cartesian Set */
				t = 0;
				double Task[3];
				for (int i = 0; i < 3; i++) {
					Task[i] = (int16_t) (((UART5_rxBuffer[2 + (2 * i)]) << 8)
							| (UART5_rxBuffer[3 + (2 * i)])) / 50.0;
				}
				double q_Feed[4];
				double Pne[3];
				q_Feed[0] = Control[0].PositionFeedback;
				q_Feed[1] = Control[1].PositionFeedback;
				q_Feed[2] = Control[2].PositionFeedback;
				q_Feed[3] = Control[3].PositionFeedback;

				FPK(q_Feed, 269.0f, Pne);
				double Time2MoveDynamic = 1.3;
				Time2MoveDynamic += (sqrt(
						((Task[0] - Pne[0]) * (Task[0] - Pne[0]))
								+ ((Task[1] - Pne[1]) * (Task[1] - Pne[1]))
								+ ((Task[2] - Pne[2]) * (Task[2] - Pne[2]))))
						* 0.0075;

				JMoveTaskSpace(Task, Time2MoveDynamic);
				UART5_txBuffer[2] = 0x00;
				UART5_txBuffer[1] = 0xFF;
				SentData(3);
				break;
			case 0xFF:
				/* Chess Move */
//				uint8_t ChessIndex[2];
				for (int i = 0; i < 2; i++) {
					ChessIndex[i] = (uint8_t) (UART5_rxBuffer[2 + i]);
				}
				ChessHight = (float)(((UART5_rxBuffer[4]) << 8)
						| (UART5_rxBuffer[5])) / 100.0f;

				if (ChessIndex[0] == 65 || ChessIndex[1] == 65){
					ChessMoveStates = ChessMove_Finish;
					PositionX_Remove = 0;
				}

				Chess_Move_Start_Flag = 1;
				UART5_txBuffer[2] = 0x05;
				UART5_txBuffer[1] = 0xFF;
				SentData(3);
				break;
				/* 		Data to MCU End	*/

				/* 		Sent Data to Master Start 	*/
			case 0xA0:
				/* System Status */
				UART5_txBuffer[1] = 0xEE;
				UART5_txBuffer[2] = (uint8_t) ((Temperature_Protocol >> 8) & 0xFF);
				UART5_txBuffer[3] = (uint8_t) (Temperature_Protocol & 0xFF);
				SentData(4);
				break;
			case 0xA1:
				/* Station Encoder Position */
				UART5_txBuffer[1] = 0xEE;
				Chess_Board_Base_Encoder2Sent = (int)(Chess_Board_Base_Encoder * 1000.0f);
				UART5_txBuffer[2] = (uint8_t) ((Chess_Board_Base_Encoder2Sent >> 8) & 0xFF);
				UART5_txBuffer[3] = (uint8_t) (Chess_Board_Base_Encoder2Sent & 0xFF);
				SentData(4);
				break;
			case 0xA2:
				/* Raw Joint Encoder Position */
				UART5_txBuffer[1] = 0xEE;
				for (int i = 0; i < 4; i++) {
					UART5_txBuffer[2 + (2 * i)] = (uint8_t) ((Encoder[i].Position >> 8)
							& 0xFF);
					UART5_txBuffer[3 + (2 * i)] = (uint8_t) (Encoder[i].Position & 0xFF);
				}
				SentData(12);
				break;
			case 0xAA:
				/* Joint Position */
				UART5_txBuffer[1] = 0xEE;
				for (int i = 0; i < 4; i++) {
					int16_t Buf = (int16_t) (Control[i].PositionFeedback
							* 1000.0f);
					UART5_txBuffer[2 + (2 * i)] = (uint8_t) ((Buf >> 8) & 0xFF);
					UART5_txBuffer[3 + (2 * i)] = (uint8_t) (Buf & 0xFF);
				}
				UART5_txBuffer[10] = 0;
				UART5_txBuffer[11] = 0;
				SentData(12);
				break;
			case 0xAB:
				/* Task Space Position */
				UART5_txBuffer[1] = 0xEE;
				/*	Forward Kinematics */

				for (int i = 0; i < 4; i++) {
					q_in[i] = Control[i].PositionFeedback;
				}
				FPK(q_in, 269.0f, task);

				for (int i = 0; i < 3; i++) {
					int16_t Buf = (int16_t) (task[i] * 10.0f);
					UART5_txBuffer[2 + (2 * i)] = (uint8_t) ((Buf >> 8) & 0xFF);
					UART5_txBuffer[3 + (2 * i)] = (uint8_t) (Buf & 0xFF);
				}
				SentData(8);
				break;
			case 0xAF:
				/* UI Feedback */
				UART5_txBuffer[1] = 0xEE;
				/*	Forward Kinematics */
				for (int i = 0; i < 4; i++) {
					q_in[i] = Control[i].PositionFeedback;
				}
				for (int i = 0; i < 4; i++) {
					q_in_Set[i] = Control[i].PositionSetpoint;
				}
				FPK(q_in, 269.0f, task);
				FPK(q_in_Set, 269.0f, d_Task_Set);

				/* Station Encoder */
				Chess_Board_Base_Encoder2Sent = Chess_Board_Base_Encoder * 1000.0f;
				UART5_txBuffer[2] = (uint8_t) ((Chess_Board_Base_Encoder2Sent >> 8) & 0xFF);
				UART5_txBuffer[3] = (uint8_t) (Chess_Board_Base_Encoder2Sent & 0xFF);

				/* Temp */
				UART5_txBuffer[4] = (uint8_t) ((Temperature_Protocol >> 8) & 0xFF);
				UART5_txBuffer[5] = (uint8_t) (Temperature_Protocol & 0xFF);
				UART5_txBuffer[6] = (uint8_t) ((Temperature_Protocol2 >> 8) & 0xFF);
				UART5_txBuffer[7] = (uint8_t) (Temperature_Protocol2 & 0xFF);

				/* Joint Current */
				for (int i = 0; i < 4; i++) {
					int16_t Buf = (int16_t) (Control[i].PositionFeedback
							* 1000.0f);
					UART5_txBuffer[8 + (2 * i)] = (uint8_t) ((Buf >> 8) & 0xFF);
					UART5_txBuffer[9 + (2 * i)] = (uint8_t) (Buf & 0xFF);
				}
				UART5_txBuffer[16] = 0;
				UART5_txBuffer[17] = 0;

				/* Joint Set point*/
				for (int i = 0; i < 4; i++) {
					int16_t Buf = (int16_t) (SetPoint_Position[i] * 1000.0f);
					UART5_txBuffer[18 + (2 * i)] = (uint8_t) ((Buf >> 8) & 0xFF);
					UART5_txBuffer[19 + (2 * i)] = (uint8_t) (Buf & 0xFF);
				}
				UART5_txBuffer[26] = 0;
				UART5_txBuffer[27] = 0;

				for (int i = 0; i < 3; i++) {
					int16_t Buf = (int16_t) (task[i] * 10.0f);
					UART5_txBuffer[28 + (2 * i)] = (uint8_t) ((Buf >> 8) & 0xFF);
					UART5_txBuffer[29 + (2 * i)] = (uint8_t) (Buf & 0xFF);
				}
				UART5_txBuffer[34] = Chess_Move_Start_Flag;
				for (int i = 0; i < 3; i++) {
					int16_t Buf = (int16_t) (d_Task_Set[i] * 10.0f);
					UART5_txBuffer[35 + (2 * i)] = (uint8_t) ((Buf >> 8) & 0xFF);
					UART5_txBuffer[36 + (2 * i)] = (uint8_t) (Buf & 0xFF);
				}
				SentData(41);
				break;
			default:
				UART5_txBuffer[2] = 0xFF;
				SentData(3);
				/* 		Sent Data to Master End 	*/
			}
		} else {
			/*		CRC Error		*/
			UART5_txBuffer[1] = 0xCC;
			SentData(3);
		}
	} else {
		/*		Header Error	*/
		UART5_txBuffer[1] = 0xAA;
		SentData(3);
	}
	HAL_UART_Receive_IT(&huart5, UART5_rxBuffer, 14);
}

inline void JointSpaceTraj(double Task2Move[3],double Time2Move){
	double gamma[3] = {1,1,-1};
	double q_inv[4];
	IPK(gamma, Task2Move, q_inv);
	t = 0;
	for (int i = 0; i < 4; i++) {
		Traj_Coeff_Cal(&Traj[i], Time2Move, q_inv[i],
				Control[i].PositionFeedback,  0,
				Control[i].VelocityFeedback);
	}
	Traj_Flag = 0x0F;
	Chessmove_State = 0;
}

inline void Control_Function() {
	/***** Encoder Read *****/
	double J1, J2, J3, J4;
	J1 = EncPulse2Rad_Read(&Encoder[0], 1);
	J2 = EncPulse2Rad_Read(&Encoder[1], 0);
	J3 = EncPulse2Rad_Read(&Encoder[2], 0);
	J4 = EncPulse2Rad_Read(&Encoder[3], 0);

	BaseENC[0] = TIM2->CNT;
	int ds = BaseENC[0] - BaseENC[1]; //find delta s
	BaseENC[1] = BaseENC[0];
	//Unwrapping position
	if (ds >= 1000) {
		ds -= 1999;
	} else if (ds <= -1000) {
		ds += 1999;
	}
	Chess_Board_Base_Encoder += (ds/2000.0f)*2.0f*PI;

	/***** Joint Space SetPoint Gen *****/
	if (Chessmove_State == 0) {
		if (Traj_Flag & 0x0F) {
			double traj_t_set[5];
			traj_t_set[0] = t;
			traj_t_set[1] = t * t;
			traj_t_set[2] = traj_t_set[1] * t;
			traj_t_set[3] = traj_t_set[2] * t;
			traj_t_set[4] = traj_t_set[3] * t;
			for (int i = 0; i < 4; i++) {
				if (Traj_Flag & (0x01 << i)) {
					TrajFollow(&Traj[i], traj_t_set, &SetPoint_Position[i],
							&SetPoint_Velocity[i]);
					if (t >= Traj[i].T) {
						Traj_Flag &= ((0x01 << i) ^ 0xFF);
					}
				}
			}
			t += delta_t;
		}
	}

	else if (Chessmove_State == 1) {
		if (Traj_Flag & 0x0F) {
			double gamma[3] = { 1, 1, -1 };
			double Chi_t[3];
			double ChiDot_t[3];

			//*********** Chi Output ************//
			double SetPointPosition[4];
			double SetPointVelocity[4];

			double traj_t_set[5];
			traj_t_set[0] = t;
			traj_t_set[1] = t * t;
			traj_t_set[2] = traj_t_set[1] * t;
			traj_t_set[3] = traj_t_set[2] * t;
			traj_t_set[4] = traj_t_set[3] * t;
			for (int i = 4; i < 7; i++) {
				TrajFollow(&Traj[i], traj_t_set, &Chi_t[i], &ChiDot_t[i]);
				if (t >= Traj[i].T) {
					Traj_Flag &= ((0x01 << i) ^ 0xFF);
				}
			}
			IPK(gamma, Chi_t, SetPointPosition);
			IVK(SetPointPosition, ChiDot_t, SetPointVelocity);
			for (int i = 0; i < 4; i++) {
				TrajFollow(&Traj[i], traj_t_set, &SetPointPosition[i],
						&SetPointVelocity[i]);
			}
			t += delta_t;
		}
	}

	CascadeControl(&Control[0], &Kalman[0], J1, SetPoint_Position[0], SetPoint_Velocity[0]);
	CascadeControl(&Control[1], &Kalman[1], J2, SetPoint_Position[1], SetPoint_Velocity[1]);
	CascadeControl(&Control[2], &Kalman[2], J3, SetPoint_Position[2], SetPoint_Velocity[2]);
	CascadeControl(&Control[3], &Kalman[3], J4, SetPoint_Position[3], SetPoint_Velocity[3]);

	Step_Driver(&Stepper[0], Control[0].Output);
	Step_Driver(&Stepper[1], Control[1].Output);
	Step_Driver(&Stepper[2], Control[2].Output);
	Step_Driver(&Stepper[3], Control[3].Output);
}

inline void JMoveTaskSpace(double Task2Go[3], double Time2Move){
	double gamma[3] = { 1, 1, -1 };
	double q_inv[4];
	IPK(gamma, Task2Go, q_inv);
	t = 0;
	for (int i = 0; i < 4; i++) {
		Traj_Coeff_Cal(&Traj[i], Time2Move, q_inv[i], Control[i].PositionFeedback, 0,
				Control[i].VelocityFeedback);
	}
	Traj_Flag = 0x0F;
	Chessmove_State = 0;
}

inline void LMoveTaskSpace(double Task2Go[3], double Time2Move){
	double q_Feed[4];
	double qv_Feed[4];
	double Pne[3];
	double vPne[3];
	q_Feed[0] = Control[0].PositionFeedback;
	q_Feed[1] = Control[1].PositionFeedback;
	q_Feed[2] = Control[2].PositionFeedback;
	q_Feed[3] = Control[3].PositionFeedback;
	qv_Feed[0] = Control[0].VelocityFeedback;
	qv_Feed[1] = Control[1].VelocityFeedback;
	qv_Feed[2] = Control[2].VelocityFeedback;
	qv_Feed[3] = Control[3].VelocityFeedback;

	FPK(q_Feed, 269.0f, Pne);
	FVK(q_Feed, qv_Feed, 269.0f, vPne);
	t = 0;
	for (int i = 4; i < 7; i++) {
		Traj_Coeff_Cal(&Traj[i], Time2Move, Task2Go[i], Pne[i], 0, vPne[i]);
	}
	Traj_Flag = 0x0F;
	Chessmove_State = 1; // Change to TaskSpace Traj
}

void ChessNotMovePathWay(uint8_t Index2Move, double Z_Offset, uint8_t IsJMove,
		uint8_t IsRemove) {
	/***** Encoder Read *****/
	double PositionXY[2];
	double SafePose[3] = { 100, -370, 13 };

	/***** Base Encoder Read *****/
//	BaseEnc = BaseENCRead();   //?????????????????????????????????????????????????????????
	ChessPose(Index2Move, Chess_Board_Base_Encoder, PositionXY);
	double q_Feed[4];
	double Pne[3];
	q_Feed[0] = Control[0].PositionFeedback;
	q_Feed[1] = Control[1].PositionFeedback;
	q_Feed[2] = Control[2].PositionFeedback;
	q_Feed[3] = Control[3].PositionFeedback;
	FPK(q_Feed, 269.0f, Pne);
	double Time2MoveDynamic = 1.2;

	double TaskSpace2Go[3];
	if (Index2Move == 64) {
		if (IsRemove == 1) {
			TaskSpace2Go[0] = SafePose[0] + (PositionX_Remove * 40);
			TaskSpace2Go[1] = SafePose[1];
			TaskSpace2Go[2] = Z_TopOffset;
			Time2MoveDynamic += (sqrt(
					((TaskSpace2Go[0] - Pne[0]) * (TaskSpace2Go[0] - Pne[0]))
							+ ((TaskSpace2Go[1] - Pne[1])
									* (TaskSpace2Go[1] - Pne[1])
									+ ((TaskSpace2Go[2] - Pne[2])
											* (TaskSpace2Go[2] - Pne[2])))))
					* 0.0067;
			if (IsJMove) {
				JMoveTaskSpace(TaskSpace2Go, Time2MoveDynamic);
			} else {
				JMoveTaskSpace(TaskSpace2Go, 2);
			}
		} else if (IsRemove == 2) {
			TaskSpace2Go[0] = SafePose[0] + (PositionX_Remove * 40);
			TaskSpace2Go[1] = SafePose[1];
			TaskSpace2Go[2] = SafePose[2];
			PositionX_Remove += 1;

			Time2MoveDynamic += (sqrt(
					((TaskSpace2Go[0] - Pne[0]) * (TaskSpace2Go[0] - Pne[0]))
							+ ((TaskSpace2Go[1] - Pne[1])
									* (TaskSpace2Go[1] - Pne[1])
									+ ((TaskSpace2Go[2] - Pne[2])
											* (TaskSpace2Go[2] - Pne[2])))))
					* 0.0067;
			if (IsJMove) {
				JMoveTaskSpace(TaskSpace2Go, Time2MoveDynamic);
			} else {
				JMoveTaskSpace(TaskSpace2Go, 2);
			}
		}
	} else {
		float Z_Board_Offset;
		if (PositionXY[0] > 250 && PositionXY[0] < 450) {
			Z_Board_Offset = (PositionXY[0] - 250) * 0.05f;
		} else if (PositionXY[0] > 450 && PositionXY[0] < 700) {
			Z_Board_Offset = (PositionXY[0] - 450) * 0.11f;
		}
		TaskSpace2Go[0] = PositionXY[0];
		TaskSpace2Go[1] = PositionXY[1];
		TaskSpace2Go[2] = Z_Offset + ChessHight + Z_Board_Offset;

		Time2MoveDynamic += (sqrt(
				((TaskSpace2Go[0] - Pne[0]) * (TaskSpace2Go[0] - Pne[0]))
						+ ((TaskSpace2Go[1] - Pne[1])
								* (TaskSpace2Go[1] - Pne[1])
								+ ((TaskSpace2Go[2] - Pne[2])
										* (TaskSpace2Go[2] - Pne[2])))))
				* 0.0067;

		if (IsJMove) {
			JMoveTaskSpace(TaskSpace2Go, Time2MoveDynamic);
		} else {
			JMoveTaskSpace(TaskSpace2Go, 2);
		}
	}
}

void ChessMoveStateMachine() {
	static uint8_t ChangeState = 0;
	double Speed_Error = 0.05;
	double SafePose[3] = {210, -270, 250};
	double Time2MoveDynamic = 1.3;
	double q_Feed[4];
	double Pne[3];

	switch (ChessMoveStates) {
	case Chess_idle:
		HAL_GPIO_WritePin(LED4_GPIO_Port, LED4_Pin, 0);
		if (Chess_Move_Start_Flag) {
			ChessMoveStates = Move_2_Start_Top_Point;
			HAL_GPIO_WritePin(LED4_GPIO_Port, LED4_Pin, 1);
			Servo_Drive(&Servo[1], 90);
			ChangeState = 1;
			}
		break;
	case Move_2_Start_Top_Point:
		if (ChangeState) {
			ChessNotMovePathWay(ChessIndex[0], Z_TopOffset, 1 , 0);
			ChangeState = 0;
		}
		if (!Traj_Flag) {
			if(All_Joint_Speed_Avg() <= Speed_Error){
				ChessMoveStates = Move_2_Start_Grip_Point;
				Servo_Drive(&Servo[1], 90.0f + Control[0].PositionFeedback - Chess_Board_Base_Encoder);
				ChangeState = 1;
			}
		}
		break;
	case Move_2_Start_Grip_Point:
		if (ChangeState) {
			ChessNotMovePathWay(ChessIndex[0], Z_2GripOffset, 0, 1);
			ChangeState = 0;
		}
		if (!Traj_Flag) {
			if (All_Joint_Speed_Avg() <= Speed_Error) {
				ChessMoveStates = Move_2_Start_Point_and_Griping;
				Servo_Drive(&Servo[0], 110); //Ungrip
				ChangeState = 1;
			}
		}
		break;
	case Move_2_Start_Point_and_Griping:
		// Grip Chess
		Servo_Drive(&Servo[0], 25); //Grip
		ChessMoveStates = Back_2_Start_Top_Point;
		break;
	case Back_2_Start_Top_Point:
		if (ChangeState) {
			ChessNotMovePathWay(ChessIndex[0], Z_TopOffset, 0, 1);
			ChangeState = 0;
		}
		if (!Traj_Flag) {
			if (All_Joint_Speed_Avg() <= Speed_Error) {
				ChessMoveStates = Move_2_End_Top_Point;
				ChangeState = 1;
			}
		}
		break;

		// Finish To Grip Chess

	case Move_2_End_Top_Point:
		if (ChangeState) {
			ChessNotMovePathWay(ChessIndex[1], Z_TopOffset, 1, 1);
			ChangeState = 0;
		}
		if (!Traj_Flag) {
			if (All_Joint_Speed_Avg() <= Speed_Error) {
				Servo_Drive(&Servo[1],
						90.0f - Control[0].PositionFeedback	+ Chess_Board_Base_Encoder);
				ChessMoveStates = Move_2_End_Ungrip_Point;
				ChangeState = 1;
			}
		}
		break;
	case Move_2_End_Ungrip_Point:
		if (ChangeState) {
			ChessNotMovePathWay(ChessIndex[1], Z_2GripOffset, 0, 1);
			ChangeState = 0;
		}
		if (!Traj_Flag) {
			if (All_Joint_Speed_Avg() <= Speed_Error) {
				if (ChessIndex[1] == 64) {
					ChessMoveStates = Move_2_End_Remove_Point_and_Ungriping;
					ChangeState = 1;
				} else {
					ChessMoveStates = Move_2_End_Point_and_Ungriping;
					ChangeState = 1;
				}
			}
		}
		break;
	case Move_2_End_Remove_Point_and_Ungriping:
		if (ChangeState) {
			ChessNotMovePathWay(ChessIndex[1], Z_2GripOffset, 0, 2);
			ChangeState = 0;
		}
		if (!Traj_Flag) {
			if (All_Joint_Speed_Avg() <= Speed_Error) {
				ChessMoveStates = Move_2_End_Point_and_Ungriping;
				ChangeState = 1;
			}
		}
		break;
	case Move_2_End_Point_and_Ungriping:
		Servo_Drive(&Servo[0], 110); //Ungrip
		ChessMoveStates = Back_2_End_Top_Point;
		ChangeState = 1;
		break;
	case Back_2_End_Top_Point:
		if (ChangeState) {
			ChessNotMovePathWay(ChessIndex[1], Z_TopOffset, 0, 1);
			ChangeState = 0;
		}
		if (!Traj_Flag) {
			if (All_Joint_Speed_Avg() <= Speed_Error) {
				ChessMoveStates = ChessMove_Finish;
				ChangeState = 1;
			}
		}
		break;
	case ChessMove_Finish:
		if (ChangeState) {
			q_Feed[0] = Control[0].PositionFeedback;
			q_Feed[1] = Control[1].PositionFeedback;
			q_Feed[2] = Control[2].PositionFeedback;
			q_Feed[3] = Control[3].PositionFeedback;
			FPK(q_Feed, 269.0f, Pne);
			Time2MoveDynamic +=
					(sqrt(
							((SafePose[0] - Pne[0]) * (SafePose[0] - Pne[0]))
									+ ((SafePose[1] - Pne[1])
											* (SafePose[1] - Pne[1]))
									+ ((SafePose[2] - Pne[2])
											* (SafePose[2] - Pne[2]))))
							* 0.0075;
			JMoveTaskSpace(SafePose, Time2MoveDynamic);
			ChangeState = 0;
		}
		if (!Traj_Flag) {
			if (All_Joint_Speed_Avg() <= Speed_Error) {
				ChessMoveStates = Chess_idle;
				Chess_Move_Start_Flag = 0;
				ChangeState = 1;
			}
		}
		break;
	default:
		break;
	}
}

double All_Joint_Speed_Avg(){
	double Buf;
	for (int i=4;i<4;i++){
		Buf += fabs(Control[i].VelocityFeedback);
	}
	return Buf/4.0f;
}

/* USER CODE END 4 */

void Error_Handler(void)
{
  /* USER CODE BEGIN Error_Handler_Debug */
  /* User can add his own implementation to report the HAL error return state */
  __disable_irq();
  HAL_GPIO_WritePin(LED1_GPIO_Port, LED1_Pin, 0);
  while (1)
  {
  }
  /* USER CODE END Error_Handler_Debug */
}
